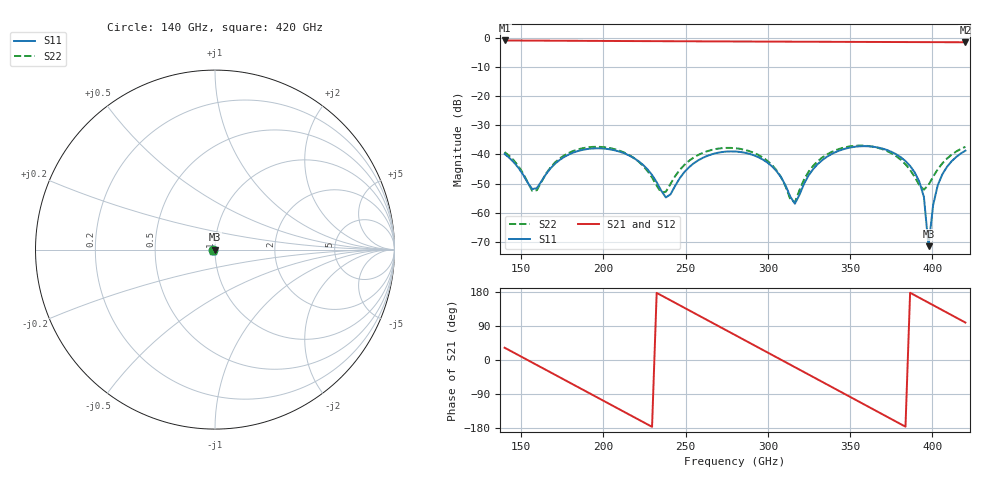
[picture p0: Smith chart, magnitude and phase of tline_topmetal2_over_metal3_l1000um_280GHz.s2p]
#  GHZ S DB R 50
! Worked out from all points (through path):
!   101 points, 140 GHz to 420 GHz, reference 50 ohm
!   highest |S21| = -0.91 dB at 140 GHz (marker M1); lowest = -1.5 dB at 420 GHz (marker M2)
!   group delay of S21, straight-line fit = 6.48 ps
!   lowest |S11| = -71.5 dB at 397.6 GHz (marker M3), VSWR 1.00, Z = 50 + j0.0252 ohm
!   |S11| at or under -10 dB: start of sweep to end of sweep
!   |S22| runs from -56.5 to -37.0 dB; largest |S21 - S12| = 1.6e-13
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140  -39.86 -174.8  -0.91 32.4  -0.91 32.4  -39.20 -171.8
156.8  -51.91 77.5  -0.96 -6.7  -0.96 -6.7  -52.52 83.6
173.6  -41.85 -54.5  -1.01 -45.9  -1.01 -45.9  -41.35 -54.8
187.6  -38.42 -99.5  -1.04 -78.5  -1.04 -78.5  -37.86 -98.3
201.6  -38.07 -140.7  -1.08 -111.1  -1.08 -111.1  -37.61 -138.7
215.6  -40.36 177.3  -1.11 -143.7  -1.11 -143.7  -40.20 179.4
235.2  -52.48 84.6  -1.16 170.6  -1.16 170.6  -53.14 63.9
240.8  -53.72 -0.1  -1.17 157.5  -1.17 157.5  -50.15 -12.8
260.4  -41.19 -103.2  -1.22 111.8  -1.22 111.8  -39.48 -97.4
280  -39.00 -161.0  -1.26 66.0  -1.26 66.0  -37.87 -153.9
302.4  -44.06 131.6  -1.31 13.7  -1.31 13.7  -43.60 139.3
316.4  -56.92 13.2  -1.33 -18.9  -1.33 -18.9  -56.45 4.1
327.6  -44.97 -87.5  -1.35 -45.1  -1.35 -45.1  -43.85 -82.6
350  -37.64 -154.4  -1.40 -97.5  -1.40 -97.5  -37.23 -149.4
375.2  -39.16 139.8  -1.45 -156.4  -1.45 -156.4  -39.65 138.4
392  -49.35 96.6  -1.48 164.4  -1.48 164.4  -50.53 51.8
394.8  -54.64 88.8  -1.48 157.8  -1.48 157.8  -52.12 10.9
397.6  -71.49 71.4  -1.49 151.3  -1.49 151.3  -50.51 -30.3
400.4  -57.38 -101.1  -1.49 144.7  -1.49 144.7  -47.64 -57.1
403.2  -50.56 -109.4  -1.50 138.2  -1.50 138.2  -45.11 -74.5
408.8  -44.28 -123.9  -1.51 125.1  -1.51 125.1  -41.44 -98.7
420  -38.73 -151.8  -1.53 98.8  -1.53 98.8  -37.40 -134.4
